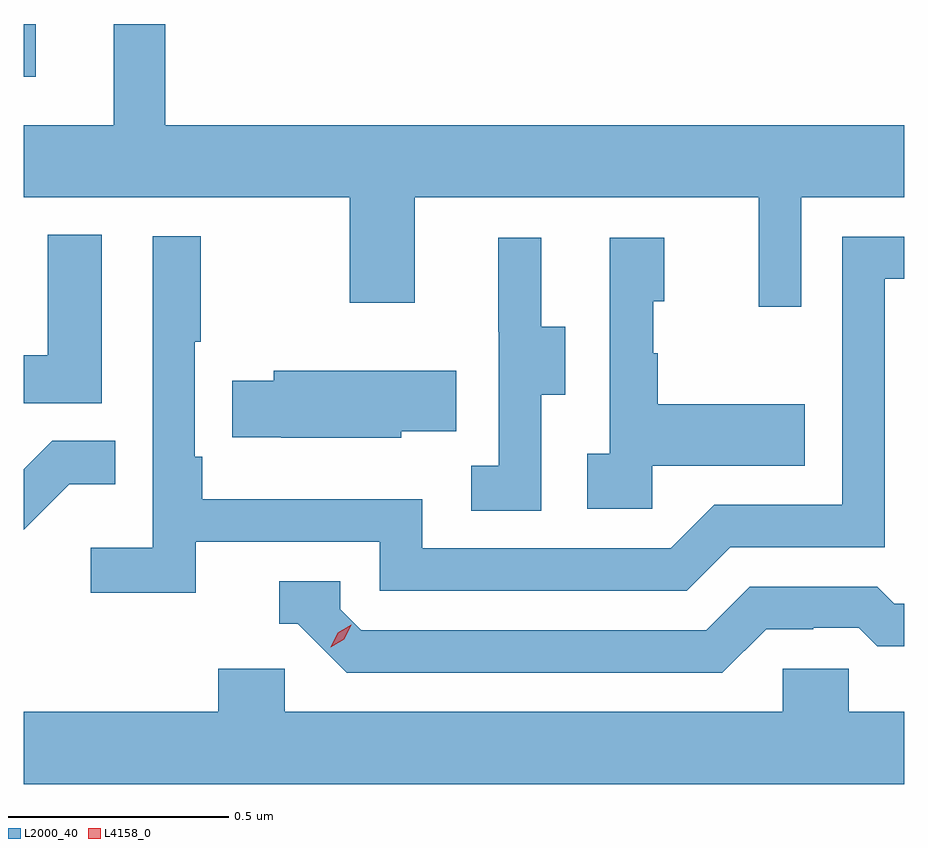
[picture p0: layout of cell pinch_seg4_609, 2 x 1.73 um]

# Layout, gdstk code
import gdstk
lib = gdstk.Library(unit=1e-6, precision=1e-09)
def R(c, l, rs):  # rectangles x0, y0, x1, y1
    for r in rs: c.add(gdstk.rectangle(r[:2], r[2:], *l))
def P(c, l, *ps):  # polygons
    for p in ps: c.add(gdstk.Polygon(p, *l))
L2000_40 = (2000, 40)
L4158_0 = (4158, 0)

pinch_seg4_609 = lib.new_cell('pinch_seg4_609')
R(pinch_seg4_609, L2000_40, [(1053.529,790.434,1053.556,790.554)])
P(pinch_seg4_609, L2000_40, [(1055.295,790.16),(1055.529,790.16),(1055.529,790.324),(1053.851,790.324),(1053.851,790.554),(1053.734,790.554),(1053.734,790.324),(1053.529,790.324),(1053.529,790.16),(1054.27,790.16),(1054.27,789.921),(1054.417,789.921),(1054.417,790.16),(1055.198,790.16),(1055.198,789.912),(1055.295,789.912)],
  [(1053.706,790.075),(1053.584,790.075),(1053.584,789.802),(1053.529,789.802),(1053.529,789.693),(1053.706,789.693)],
  [(1053.92,789.378),(1054.338,789.378),(1054.338,789.267),(1055.035,789.267),(1055.134,789.366),(1055.484,789.366),(1055.484,789.975),(1055.529,789.975),(1055.529,790.071),(1055.388,790.071),(1055.388,789.462),(1055.097,789.462),(1054.998,789.363),(1054.434,789.363),(1054.434,789.475),(1053.935,789.475),(1053.935,789.571),(1053.918,789.571),(1053.918,789.832),(1053.931,789.832),(1053.931,790.072),(1053.822,790.072),(1053.822,789.364),(1053.681,789.364),(1053.681,789.262),(1053.92,789.262)],
  [(1054.704,789.712),(1054.759,789.712),(1054.759,789.867),(1054.705,789.867),(1054.705,790.069),(1054.607,790.069),(1054.607,789.855),(1054.608,789.855),(1054.608,789.551),(1054.545,789.551),(1054.545,789.448),(1054.704,789.448)],
  [(1054.956,789.551),(1055.303,789.551),(1055.303,789.691),(1054.969,789.691),(1054.969,789.806),(1054.959,789.806),(1054.959,789.924),(1054.984,789.924),(1054.984,790.069),(1054.86,790.069),(1054.86,789.578),(1054.809,789.578),(1054.809,789.453),(1054.956,789.453)],
  [(1054.386,789.629),(1054.511,789.629),(1054.511,789.766),(1054.097,789.766),(1054.097,789.744),(1054.003,789.744),(1054.003,789.615),(1054.114,789.615),(1054.114,789.614),(1054.386,789.614)],
  [(1053.633,789.509),(1053.737,789.509),(1053.737,789.608),(1053.594,789.608),(1053.529,789.543),(1053.529,789.405)],
  [(1055.215,789.18),(1055.322,789.18),(1055.322,789.183),(1055.425,789.183),(1055.467,789.141),(1055.529,789.141),(1055.529,789.237),(1055.506,789.237),(1055.467,789.276),(1055.178,789.276),(1055.079,789.177),(1054.296,789.177),(1054.248,789.225),(1054.248,789.288),(1054.109,789.288),(1054.109,789.192),(1054.152,789.192),(1054.263,789.081),(1055.116,789.081)],
  [(1055.529,788.992),(1055.403,788.992),(1055.403,789.09),(1055.253,789.09),(1055.253,788.992),(1054.122,788.992),(1054.122,789.09),(1053.971,789.09),(1053.971,788.992),(1053.529,788.992),(1053.529,788.828),(1055.529,788.828)])
P(pinch_seg4_609, L4158_0, [(1054.226,789.138),(1054.226,789.139),(1054.242,789.171),(1054.273,789.19),(1054.273,789.19),(1054.273,789.19),(1054.257,789.157),(1054.226,789.138)])

lib.write_gds('pinch_seg4_609.gds')
